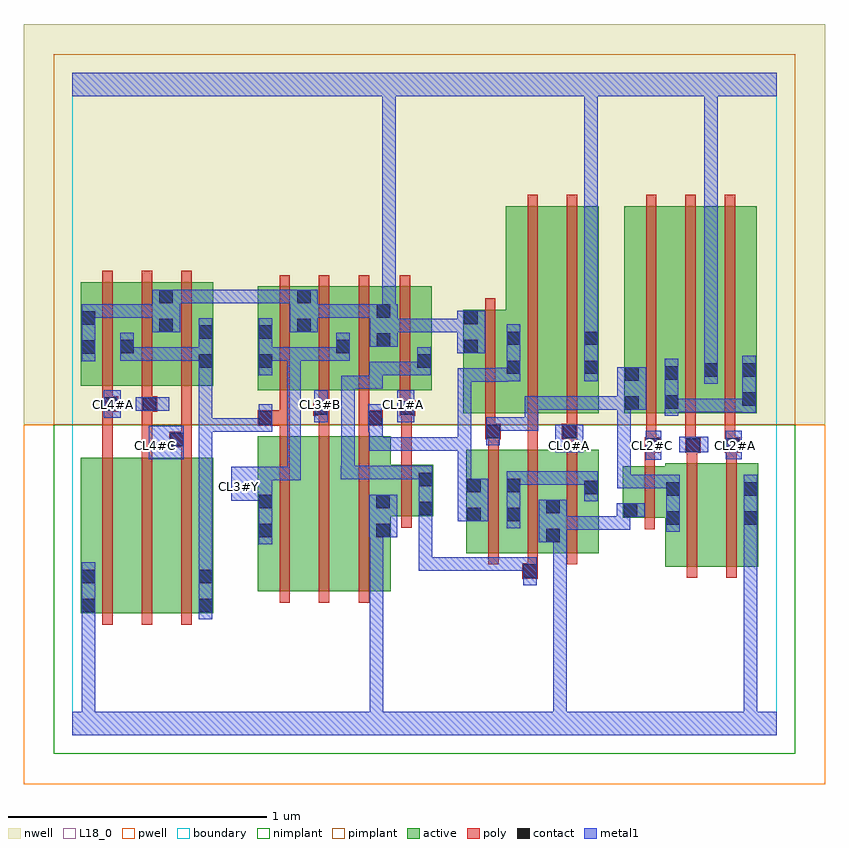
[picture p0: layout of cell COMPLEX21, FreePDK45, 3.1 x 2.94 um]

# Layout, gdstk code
import gdstk
lib = gdstk.Library(unit=1e-6, precision=1e-09)
def R(c, l, rs):  # rectangles x0, y0, x1, y1
    for r in rs: c.add(gdstk.rectangle(r[:2], r[2:], *l))
def A(c, l, x, y, w, h, nx, ny, dx, dy):  # array of equal rectangles
    R(c, l, [(x+i*dx, y+j*dy, x+i*dx+w, y+j*dy+h) for i in range(nx) for j in range(ny)])
active = (1, 0)
pwell = (2, 0)
nwell = (3, 0)
nimplant = (4, 0)
pimplant = (5, 0)
poly = (9, 0)
contact = (10, 0)
metal1 = (11, 0)
L18_0 = (18, 0)
boundary = (235, 0)

complex21 = lib.new_cell('COMPLEX21')
A(complex21, active, 2.132, 1.244, 0.06, 0.8, 3, 1, 0.152, 0)
R(complex21, active, [(0.032,0.472,0.212,1.072), (0.032,0.472,0.092,1.072), (0.212,0.472,0.364,1.072), (0.364,0.472,0.544,1.072), (0.484,0.472,0.544,1.072), (0.716,0.556,0.896,1.156), (0.716,0.556,0.776,1.156), (0.896,0.556,1.048,1.156), (1.048,0.556,1.23,1.156), (2.29,0.652,2.47,1.052), (2.47,0.652,2.65,1.052), (2.59,0.652,2.65,1.052), (1.522,0.704,1.582,1.104), (1.522,0.704,1.734,1.104), (1.674,0.704,1.886,1.104), (1.826,0.704,1.886,1.104), (1.826,0.704,2.034,1.104), (1.974,0.704,2.034,1.104), (1.674,0.756,1.734,1.104), (1.17,0.762,1.23,1.018), (2.29,0.792,2.35,0.982), (2.126,0.84,2.35,1.04), (2.126,0.84,2.186,1.04), (1.17,0.846,1.394,1.046), (1.334,0.846,1.394,1.046), (1.51,1.244,1.57,1.644), (1.51,1.244,1.734,1.644), (1.674,1.244,1.854,2.044), (1.854,1.244,2.034,2.044), (1.974,1.244,2.034,2.044), (2.132,1.244,2.344,2.044), (2.284,1.244,2.496,2.044), (2.436,1.244,2.644,2.044), (2.584,1.244,2.644,2.044), (0.716,1.334,0.924,1.734), (0.716,1.334,0.776,1.644), (0.864,1.334,0.924,1.734), (0.864,1.334,1.076,1.734), (1.016,1.334,1.076,1.734), (1.016,1.334,1.232,1.734), (1.172,1.334,1.388,1.734), (1.172,1.334,1.232,1.67), (1.328,1.334,1.388,1.644), (0.032,1.35,0.092,1.75), (0.032,1.35,0.24,1.75), (0.18,1.35,0.24,1.75), (0.18,1.35,0.392,1.75), (0.332,1.35,0.392,1.75), (0.332,1.35,0.544,1.75), (0.484,1.35,0.544,1.644), (1.674,1.392,1.734,1.644)])
R(complex21, pwell, [(-0.188,-0.188,2.908,1.2)])
R(complex21, nwell, [(-0.188,1.2,2.908,2.748)])
R(complex21, nimplant, [(-0.072,-0.072,2.792,1.2)])
R(complex21, pimplant, [(-0.072,1.2,2.792,2.632)])
A(complex21, poly, 0.116, 0.428, 0.04, 0.688, 3, 1, 0.152, 0)
A(complex21, poly, 1.606, 0.66, 0.04, 0.488, 3, 1, 0.152, 0)
A(complex21, poly, 2.216, 1.112, 0.04, 0.128, 3, 1, 0.152, 0)
A(complex21, poly, 2.216, 1.2, 0.04, 0.888, 3, 1, 0.152, 0)
A(complex21, poly, 0.116, 1.306, 0.04, 0.488, 3, 1, 0.152, 0)
R(complex21, poly, [(0.8,0.512,0.84,1.2), (0.952,0.512,0.992,1.2), (1.106,0.512,1.146,1.2), (1.738,0.604,1.798,0.664), (2.374,0.608,2.414,1.096), (2.526,0.608,2.566,1.096), (1.758,0.624,1.798,0.7), (2.21,0.796,2.25,1.084), (1.27,0.802,1.31,1.09), (2.21,1.044,2.25,1.132), (1.27,1.05,1.31,1.274), (2.374,1.056,2.414,1.132), (2.526,1.056,2.566,1.132), (0.116,1.076,0.156,1.29), (0.268,1.076,0.308,1.29), (0.42,1.076,0.46,1.152), (2.21,1.092,2.25,1.132), (2.21,1.092,2.25,1.132), (2.21,1.092,2.27,1.152), (2.368,1.092,2.428,1.152), (2.374,1.092,2.414,1.132), (2.374,1.092,2.414,1.132), (2.52,1.092,2.58,1.152), (2.526,1.092,2.566,1.132), (2.526,1.092,2.566,1.132), (1.606,1.108,1.646,1.184), (1.758,1.108,1.798,1.204), (1.91,1.108,1.95,1.184), (0.374,1.112,0.46,1.172), (0.42,1.132,0.46,1.172), (0.42,1.132,0.46,1.172), (0.42,1.132,0.46,1.346), (1.594,1.144,1.654,1.204), (1.606,1.144,1.646,1.184), (1.606,1.144,1.646,1.184), (1.89,1.144,1.95,1.204), (0.8,1.16,0.84,1.236), (0.952,1.16,0.992,1.274), (1.106,1.16,1.146,1.236), (1.594,1.164,1.634,1.24), (1.758,1.164,1.798,1.204), (1.758,1.164,1.798,1.204), (1.758,1.164,1.798,1.204), (1.758,1.164,1.798,1.24), (1.91,1.164,1.95,1.204), (1.91,1.164,1.95,1.204), (1.91,1.164,1.95,1.24), (0.716,1.196,0.84,1.256), (0.8,1.196,0.84,1.236), (0.8,1.196,0.84,1.236), (1.106,1.196,1.198,1.256), (1.594,1.2,1.634,1.688), (1.758,1.2,1.798,2.088), (1.91,1.2,1.95,2.088), (0.8,1.216,0.84,1.33), (1.106,1.216,1.146,1.256), (1.106,1.216,1.146,1.256), (1.106,1.216,1.146,1.33), (0.93,1.234,0.992,1.294), (0.952,1.234,0.992,1.274), (0.952,1.234,0.992,1.274), (1.264,1.234,1.324,1.294), (1.27,1.234,1.31,1.274), (1.27,1.234,1.31,1.274), (0.116,1.25,0.156,1.29), (0.116,1.25,0.156,1.29), (0.116,1.25,0.176,1.31), (0.268,1.25,0.308,1.29), (0.268,1.25,0.308,1.29), (0.268,1.25,0.328,1.31), (0.952,1.254,0.992,1.33), (1.264,1.254,1.304,1.33), (0.116,1.27,0.156,1.346), (0.268,1.27,0.308,1.346), (0.8,1.29,0.84,1.778), (0.952,1.29,0.992,1.778), (1.106,1.29,1.146,1.778), (1.264,1.29,1.304,1.778)])
R(complex21, contact, [(0.036,0.476,0.088,0.528), (0.488,0.476,0.54,0.528), (0.036,0.588,0.088,0.64), (0.488,0.588,0.54,0.64), (1.742,0.608,1.794,0.66), (1.83,0.746,1.882,0.798), (0.72,0.766,0.772,0.818), (1.174,0.766,1.226,0.818), (2.294,0.814,2.346,0.866), (2.594,0.814,2.646,0.866), (1.526,0.828,1.578,0.88), (1.678,0.828,1.73,0.88), (2.13,0.844,2.182,0.896), (1.338,0.85,1.39,0.902), (1.83,0.858,1.882,0.91), (0.72,0.878,0.772,0.93), (1.174,0.878,1.226,0.93), (2.294,0.926,2.346,0.978), (2.594,0.926,2.646,0.978), (1.978,0.932,2.03,0.984), (1.526,0.94,1.578,0.992), (1.678,0.94,1.73,0.992), (1.338,0.962,1.39,1.014), (2.214,1.096,2.266,1.148), (2.372,1.096,2.424,1.148), (2.524,1.096,2.576,1.148), (0.378,1.116,0.43,1.168), (1.598,1.148,1.65,1.2), (1.894,1.148,1.946,1.2), (0.72,1.2,0.772,1.252), (1.142,1.2,1.194,1.252), (0.934,1.238,0.986,1.29), (1.268,1.238,1.32,1.29), (0.12,1.254,0.172,1.306), (0.272,1.254,0.324,1.306), (2.136,1.258,2.188,1.31), (2.288,1.262,2.34,1.314), (2.588,1.274,2.64,1.326), (2.136,1.37,2.188,1.422), (2.288,1.374,2.34,1.426), (2.44,1.386,2.492,1.438), (2.588,1.386,2.64,1.438), (1.678,1.396,1.73,1.448), (1.978,1.396,2.03,1.448), (0.488,1.42,0.54,1.472), (0.72,1.42,0.772,1.472), (1.332,1.42,1.384,1.472), (0.036,1.474,0.088,1.526), (0.184,1.476,0.236,1.528), (1.02,1.476,1.072,1.528), (1.514,1.476,1.566,1.528), (1.176,1.502,1.228,1.554), (1.678,1.508,1.73,1.56), (1.978,1.508,2.03,1.56), (0.488,1.532,0.54,1.584), (0.72,1.532,0.772,1.584), (0.336,1.558,0.388,1.61), (0.868,1.558,0.92,1.61), (0.036,1.586,0.088,1.638), (1.514,1.588,1.566,1.64), (1.176,1.614,1.228,1.666), (0.336,1.67,0.388,1.722), (0.868,1.67,0.92,1.722)])
R(complex21, metal1, [(0,0,2.72,0.092), (0.036,0.04,0.088,0.092), (0.036,0.04,0.088,0.092), (0.036,0.04,0.088,0.092), (0.036,0.04,0.088,0.092), (0.036,0.04,0.088,0.092), (0.036,0.04,0.088,0.092), (0.036,0.04,0.088,0.092), (0.036,0.04,0.088,0.092), (0.036,0.04,0.088,0.5), (1.148,0.04,1.2,0.092), (1.148,0.04,1.2,0.092), (1.148,0.04,1.2,0.092), (1.148,0.04,1.2,0.092), (1.148,0.04,1.2,0.818), (1.858,0.04,1.91,0.092), (1.858,0.04,1.91,0.092), (1.858,0.04,1.91,0.092), (1.858,0.04,1.91,0.092), (1.858,0.04,1.91,0.092), (1.858,0.04,1.91,0.092), (1.858,0.04,1.91,0.092), (1.858,0.04,1.91,0.092), (1.858,0.04,1.91,0.798), (2.594,0.04,2.646,0.092), (2.594,0.04,2.646,0.092), (2.594,0.04,2.646,0.838), (0.036,0.448,0.088,0.668), (0.488,0.448,0.54,0.668), (1.742,0.58,1.794,0.688), (0.488,0.616,0.54,1.224), (1.338,0.636,1.39,0.688), (1.338,0.636,1.39,0.688), (1.338,0.636,1.39,0.688), (1.338,0.636,1.39,0.688), (1.338,0.636,1.39,0.688), (1.338,0.636,1.5,0.688), (1.338,0.636,1.39,0.874), (1.448,0.636,1.5,0.688), (1.448,0.636,1.684,0.688), (1.632,0.636,1.684,0.688), (1.632,0.636,1.684,0.688), (1.632,0.636,1.684,0.688), (1.632,0.636,1.684,0.688), (1.632,0.636,1.684,0.688), (1.632,0.636,1.794,0.688), (0.72,0.738,0.772,0.958), (1.802,0.746,1.91,0.91), (1.858,0.746,1.91,0.798), (1.858,0.746,1.91,0.798), (1.858,0.746,1.91,0.798), (1.858,0.746,1.91,0.798), (1.146,0.766,1.254,0.93), (1.148,0.766,1.2,0.818), (1.148,0.766,1.2,0.818), (1.148,0.766,1.2,0.818), (1.148,0.766,1.2,0.818), (2.294,0.786,2.346,1.006), (2.594,0.786,2.646,0.838), (2.594,0.786,2.646,0.838), (2.594,0.786,2.646,0.838), (2.594,0.786,2.646,0.838), (2.594,0.786,2.646,0.838), (2.594,0.786,2.646,0.838), (2.594,0.786,2.646,0.838), (2.594,0.786,2.646,0.838), (2.594,0.786,2.646,0.838), (2.594,0.786,2.646,0.838), (2.594,0.786,2.646,1.006), (1.858,0.794,1.91,0.846), (1.858,0.794,1.91,0.846), (1.858,0.794,2.154,0.846), (2.102,0.794,2.154,0.846), (2.102,0.794,2.154,0.846), (2.102,0.794,2.154,0.846), (2.102,0.794,2.154,0.846), (2.102,0.794,2.154,0.846), (2.102,0.794,2.154,0.896), (1.678,0.8,1.73,1.02), (1.338,0.822,1.39,1.042), (1.488,0.828,1.606,0.992), (2.102,0.844,2.21,0.896), (1.978,0.904,2.03,1.012), (0.614,0.906,0.772,1.038), (0.72,0.906,0.772,0.958), (1.488,0.94,1.54,1.152), (2.104,0.954,2.156,1.006), (2.104,0.954,2.156,1.006), (2.104,0.954,2.156,1.006), (2.104,0.954,2.266,1.006), (2.104,0.954,2.156,1.31), (2.214,0.954,2.266,1.006), (2.214,0.954,2.346,1.006), (1.978,0.96,2.03,1.012), (1.978,0.96,2.03,1.02), (1.678,0.968,1.794,1.02), (1.742,0.968,1.794,1.02), (1.742,0.968,1.84,1.02), (1.788,0.968,1.84,1.02), (1.788,0.968,2.03,1.02), (0.72,0.986,0.772,1.038), (0.72,0.986,0.772,1.038), (0.72,0.986,0.882,1.038), (0.83,0.986,0.882,1.038), (0.83,0.986,0.882,1.038), (0.83,0.986,0.882,1.038), (0.83,0.986,0.882,1.5), (1.036,0.99,1.088,1.042), (1.036,0.99,1.088,1.042), (1.036,0.99,1.09,1.042), (1.036,0.99,1.182,1.042), (1.038,0.99,1.09,1.39), (1.13,0.99,1.182,1.042), (1.13,0.99,1.256,1.042), (1.204,0.99,1.256,1.042), (1.204,0.99,1.39,1.042), (1.338,0.99,1.39,1.042), (1.338,0.99,1.39,1.042), (2.214,1.064,2.274,1.176), (0.294,1.066,0.43,1.196), (2.524,1.066,2.586,1.176), (1.866,1.094,1.974,1.2), (2.344,1.094,2.456,1.154), (1.146,1.1,1.366,1.152), (1.146,1.1,1.198,1.224), (1.314,1.1,1.366,1.152), (1.314,1.1,1.366,1.152), (1.314,1.1,1.366,1.152), (1.314,1.1,1.54,1.152), (1.488,1.1,1.54,1.152), (1.488,1.1,1.54,1.152), (1.488,1.1,1.54,1.152), (1.488,1.1,1.54,1.418), (1.598,1.12,1.65,1.228), (0.488,1.172,0.54,1.224), (0.488,1.172,0.54,1.224), (0.488,1.172,0.54,1.224), (0.488,1.172,0.54,1.224), (0.488,1.172,0.54,1.224), (0.488,1.172,0.772,1.224), (0.488,1.172,0.54,1.444), (0.72,1.172,0.772,1.28), (1.142,1.172,1.194,1.28), (1.142,1.172,1.198,1.224), (1.598,1.176,1.65,1.228), (1.598,1.176,1.65,1.228), (1.598,1.176,1.8,1.228), (1.748,1.176,1.8,1.31), (0.934,1.21,0.986,1.334), (1.254,1.21,1.32,1.334), (0.12,1.226,0.186,1.334), (2.288,1.234,2.34,1.454), (2.588,1.246,2.64,1.466), (2.288,1.248,2.392,1.3), (2.34,1.248,2.392,1.3), (2.34,1.248,2.502,1.3), (2.45,1.248,2.502,1.3), (2.45,1.248,2.64,1.3), (2.588,1.248,2.64,1.3), (2.588,1.248,2.64,1.3), (0.244,1.254,0.374,1.306), (1.748,1.258,1.91,1.31), (1.858,1.258,1.91,1.31), (1.858,1.258,1.91,1.31), (1.858,1.258,1.91,1.31), (1.858,1.258,2.156,1.31), (2.104,1.258,2.156,1.31), (2.104,1.258,2.156,1.31), (2.104,1.258,2.156,1.31), (2.104,1.258,2.156,1.31), (2.104,1.258,2.216,1.422), (1.038,1.338,1.09,1.39), (1.038,1.338,1.196,1.39), (1.144,1.338,1.196,1.39), (1.144,1.338,1.198,1.39), (1.146,1.338,1.198,1.39), (1.146,1.338,1.198,1.444), (2.44,1.358,2.492,1.466), (1.488,1.366,1.54,1.418), (1.488,1.366,1.684,1.418), (1.632,1.366,1.684,1.42), (1.632,1.368,1.73,1.42), (1.678,1.368,1.73,1.588), (1.978,1.368,2.03,1.588), (0.488,1.392,0.54,1.612), (0.72,1.392,0.772,1.612), (1.146,1.392,1.198,1.444), (1.146,1.392,1.384,1.444), (1.332,1.392,1.384,1.444), (1.332,1.392,1.384,1.444), (1.332,1.392,1.384,1.5), (2.44,1.414,2.492,1.466), (2.44,1.414,2.492,1.466), (2.44,1.414,2.492,1.466), (2.44,1.414,2.492,1.466), (2.44,1.414,2.492,1.466), (2.44,1.414,2.492,1.466), (2.44,1.414,2.492,2.52), (0.036,1.446,0.088,1.666), (0.184,1.448,0.236,1.5), (0.184,1.448,0.236,1.5), (0.184,1.448,0.236,1.556), (0.184,1.448,0.346,1.5), (0.294,1.448,0.346,1.5), (0.294,1.448,0.346,1.5), (0.294,1.448,0.346,1.5), (0.294,1.448,0.54,1.5), (0.72,1.448,0.772,1.5), (0.72,1.448,0.772,1.5), (0.72,1.448,0.882,1.5), (0.83,1.448,0.882,1.5), (0.83,1.448,1.072,1.5), (1.02,1.448,1.072,1.5), (1.02,1.448,1.072,1.5), (1.02,1.448,1.072,1.556), (1.486,1.476,1.594,1.64), (1.148,1.502,1.256,1.666), (1.978,1.536,2.03,2.52), (0.308,1.558,0.416,1.722), (0.84,1.558,0.948,1.722), (1.204,1.558,1.366,1.61), (1.314,1.558,1.366,1.61), (1.314,1.558,1.366,1.61), (1.314,1.558,1.366,1.61), (1.314,1.558,1.538,1.61), (0.036,1.614,0.088,1.666), (0.036,1.614,0.088,1.666), (0.036,1.614,0.198,1.666), (0.146,1.614,0.198,1.666), (0.146,1.614,0.198,1.666), (0.146,1.614,0.198,1.666), (0.146,1.614,0.36,1.666), (0.896,1.614,1.058,1.666), (1.006,1.614,1.058,1.666), (1.006,1.614,1.058,1.666), (1.006,1.614,1.058,1.666), (1.006,1.614,1.196,1.666), (1.144,1.614,1.196,1.666), (1.144,1.614,1.2,1.666), (1.196,1.614,1.248,2.52), (0.364,1.67,0.416,1.722), (0.364,1.67,0.416,1.722), (0.364,1.67,0.54,1.722), (0.488,1.67,0.54,1.722), (0.488,1.67,0.54,1.722), (0.488,1.67,0.54,1.722), (0.488,1.67,0.876,1.722), (0.824,1.67,0.876,1.722), (0.824,1.67,0.892,1.722), (0,2.468,2.72,2.56), (1.196,2.468,1.248,2.52), (1.196,2.468,1.248,2.52), (1.196,2.468,1.248,2.52), (1.196,2.468,1.248,2.52), (1.196,2.468,1.248,2.52), (1.196,2.468,1.248,2.52), (1.196,2.468,1.248,2.52), (1.196,2.468,1.248,2.52), (1.196,2.468,1.248,2.52), (1.196,2.468,1.248,2.52), (1.196,2.468,1.248,2.52), (1.196,2.468,1.248,2.52), (1.196,2.468,1.248,2.52), (1.196,2.468,1.248,2.52), (1.196,2.468,1.248,2.52), (1.196,2.468,1.248,2.52), (1.978,2.468,2.03,2.52), (1.978,2.468,2.03,2.52), (1.978,2.468,2.03,2.52), (1.978,2.468,2.03,2.52), (1.978,2.468,2.03,2.52), (1.978,2.468,2.03,2.52), (1.978,2.468,2.03,2.52), (1.978,2.468,2.03,2.52), (2.44,2.468,2.492,2.52), (2.44,2.468,2.492,2.52)])
A(complex21, L18_0, 2.214, 1.094, 0.052, 0.052, 3, 1, 0.16, 0)
R(complex21, L18_0, [(0,0,2.72,0.092), (0.036,0.04,0.088,0.092), (0.036,0.04,0.088,0.092), (0.036,0.04,0.088,0.092), (0.036,0.04,0.088,0.092), (0.036,0.04,0.088,0.092), (0.036,0.04,0.088,0.092), (0.036,0.04,0.088,0.092), (0.036,0.04,0.088,0.092), (0.036,0.04,0.088,0.5), (1.148,0.04,1.2,0.092), (1.148,0.04,1.2,0.092), (1.148,0.04,1.2,0.092), (1.148,0.04,1.2,0.092), (1.148,0.04,1.2,0.818), (1.858,0.04,1.91,0.092), (1.858,0.04,1.91,0.092), (1.858,0.04,1.91,0.092), (1.858,0.04,1.91,0.092), (1.858,0.04,1.91,0.092), (1.858,0.04,1.91,0.092), (1.858,0.04,1.91,0.092), (1.858,0.04,1.91,0.092), (1.858,0.04,1.91,0.798), (2.594,0.04,2.646,0.092), (2.594,0.04,2.646,0.092), (2.594,0.04,2.646,0.838), (0.036,0.448,0.088,0.668), (0.72,0.738,0.772,0.958), (1.802,0.746,1.91,0.91), (1.858,0.746,1.91,0.798), (1.858,0.746,1.91,0.798), (1.858,0.746,1.91,0.798), (1.858,0.746,1.91,0.798), (1.146,0.766,1.254,0.93), (1.148,0.766,1.2,0.818), (1.148,0.766,1.2,0.818), (1.148,0.766,1.2,0.818), (1.148,0.766,1.2,0.818), (2.594,0.786,2.646,0.838), (2.594,0.786,2.646,0.838), (2.594,0.786,2.646,0.838), (2.594,0.786,2.646,0.838), (2.594,0.786,2.646,0.838), (2.594,0.786,2.646,0.838), (2.594,0.786,2.646,0.838), (2.594,0.786,2.646,0.838), (2.594,0.786,2.646,0.838), (2.594,0.786,2.646,0.838), (2.594,0.786,2.646,1.006), (1.858,0.794,1.91,0.846), (1.858,0.794,1.91,0.846), (1.858,0.794,2.154,0.846), (2.102,0.794,2.154,0.846), (2.102,0.794,2.154,0.846), (2.102,0.794,2.154,0.846), (2.102,0.794,2.154,0.846), (2.102,0.794,2.154,0.846), (2.102,0.794,2.154,0.896), (2.102,0.844,2.21,0.896), (0.614,0.906,0.772,1.038), (0.72,0.906,0.772,0.958), (0.614,0.934,0.666,0.986), (0.72,0.986,0.772,1.038), (0.72,0.986,0.772,1.038), (0.72,0.986,0.882,1.038), (0.83,0.986,0.882,1.038), (0.83,0.986,0.882,1.038), (0.83,0.986,0.882,1.038), (0.83,0.986,0.882,1.5), (2.214,1.064,2.274,1.176), (0.294,1.066,0.43,1.196), (2.524,1.066,2.586,1.176), (0.294,1.094,0.346,1.146), (1.866,1.094,1.974,1.2), (1.894,1.094,1.946,1.146), (2.344,1.094,2.456,1.154), (0.934,1.21,0.986,1.334), (1.254,1.21,1.32,1.334), (0.12,1.226,0.186,1.334), (0.134,1.254,0.186,1.306), (0.244,1.254,0.374,1.306), (0.294,1.254,0.346,1.306), (0.934,1.254,0.986,1.306), (1.254,1.254,1.306,1.306), (2.44,1.358,2.492,1.466), (1.978,1.368,2.03,1.588), (0.72,1.392,0.772,1.612), (2.44,1.414,2.492,1.466), (2.44,1.414,2.492,1.466), (2.44,1.414,2.492,1.466), (2.44,1.414,2.492,1.466), (2.44,1.414,2.492,1.466), (2.44,1.414,2.492,1.466), (2.44,1.414,2.492,2.52), (0.036,1.446,0.088,1.666), (0.72,1.448,0.772,1.5), (0.72,1.448,0.772,1.5), (0.72,1.448,0.882,1.5), (0.83,1.448,0.882,1.5), (0.83,1.448,1.072,1.5), (1.02,1.448,1.072,1.5), (1.02,1.448,1.072,1.5), (1.02,1.448,1.072,1.556), (1.486,1.476,1.594,1.64), (1.148,1.502,1.256,1.666), (1.978,1.536,2.03,2.52), (0.308,1.558,0.416,1.722), (0.84,1.558,0.948,1.722), (1.204,1.558,1.366,1.61), (1.314,1.558,1.366,1.61), (1.314,1.558,1.366,1.61), (1.314,1.558,1.366,1.61), (1.314,1.558,1.538,1.61), (0.036,1.614,0.088,1.666), (0.036,1.614,0.088,1.666), (0.036,1.614,0.198,1.666), (0.146,1.614,0.198,1.666), (0.146,1.614,0.198,1.666), (0.146,1.614,0.198,1.666), (0.146,1.614,0.36,1.666), (0.896,1.614,1.058,1.666), (1.006,1.614,1.058,1.666), (1.006,1.614,1.058,1.666), (1.006,1.614,1.058,1.666), (1.006,1.614,1.196,1.666), (1.144,1.614,1.196,1.666), (1.144,1.614,1.2,1.666), (1.196,1.614,1.248,2.52), (0.364,1.67,0.416,1.722), (0.364,1.67,0.416,1.722), (0.364,1.67,0.54,1.722), (0.488,1.67,0.54,1.722), (0.488,1.67,0.54,1.722), (0.488,1.67,0.54,1.722), (0.488,1.67,0.876,1.722), (0.824,1.67,0.876,1.722), (0.824,1.67,0.892,1.722), (0,2.468,2.72,2.56), (1.196,2.468,1.248,2.52), (1.196,2.468,1.248,2.52), (1.196,2.468,1.248,2.52), (1.196,2.468,1.248,2.52), (1.196,2.468,1.248,2.52), (1.196,2.468,1.248,2.52), (1.196,2.468,1.248,2.52), (1.196,2.468,1.248,2.52), (1.196,2.468,1.248,2.52), (1.196,2.468,1.248,2.52), (1.196,2.468,1.248,2.52), (1.196,2.468,1.248,2.52), (1.196,2.468,1.248,2.52), (1.196,2.468,1.248,2.52), (1.196,2.468,1.248,2.52), (1.196,2.468,1.248,2.52), (1.978,2.468,2.03,2.52), (1.978,2.468,2.03,2.52), (1.978,2.468,2.03,2.52), (1.978,2.468,2.03,2.52), (1.978,2.468,2.03,2.52), (1.978,2.468,2.03,2.52), (1.978,2.468,2.03,2.52), (1.978,2.468,2.03,2.52), (2.44,2.468,2.492,2.52), (2.44,2.468,2.492,2.52)])
R(complex21, boundary, [(0,0,2.72,2.56)])
complex21.add(gdstk.Label('CL0#A', (1.92,1.12), layer=11, texttype=0))
complex21.add(gdstk.Label('CL1#A', (1.28,1.28), layer=11, texttype=0))
complex21.add(gdstk.Label('CL2#A', (2.56,1.12), layer=11, texttype=0))
complex21.add(gdstk.Label('CL2#B', (2.4,1.12), layer=11, texttype=0))
complex21.add(gdstk.Label('CL2#C', (2.24,1.12), layer=11, texttype=0))
complex21.add(gdstk.Label('CL3#B', (0.96,1.28), layer=11, texttype=0))
complex21.add(gdstk.Label('CL3#Y', (0.64,0.96), layer=11, texttype=0))
complex21.add(gdstk.Label('CL4#A', (0.16,1.28), layer=11, texttype=0))
complex21.add(gdstk.Label('CL4#B', (0.32,1.28), layer=11, texttype=0))
complex21.add(gdstk.Label('CL4#C', (0.32,1.12), layer=11, texttype=0))

lib.write_gds('COMPLEX21.gds')
